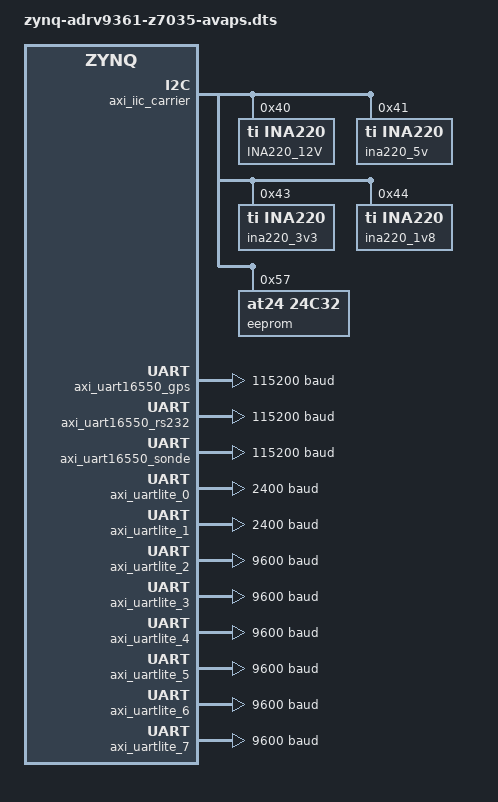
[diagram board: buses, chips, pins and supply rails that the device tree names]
// SPDX-License-Identifier: GPL-2.0
/*
 * AD9361-Z7035 System on Module (SOM) SDR - Breakout Carrier (CMOS)
 * Link: https://www.analog.com/ADRV9361-Z7035
 * Link: https://wiki.analog.com/resources/eval/user-guides/adrv936x_rfsom
 *
 * hdl_project: <adrv9361z7035/ccbob_cmos>
 * board_revision: <>
 *
 * Copyright 2016-2019 Analog Devices Inc.
 */
#include  "zynq-adrv9361-z7035-bob-cmos.dts"

/delete-node/ &tx_dma;
/delete-node/ &cf_ad9361_dac_core_0;

&aliases {
	serial1 = &axi_uart16550_gps;
	serial2 = &axi_uart16550_rs232;
	serial3 = &axi_uart16550_sonde;
};

&fpga_axi {
		AVAPSII_rcvr_0: AVAPSII_rcvr@43c00000 {
			/* This is a place holder node for a custom IP, user may need to update the entries */
			clock-names = "AXI4_Lite_ACLK", "IPCORE_CLK";
			clocks = <&misc_clk_0>, <&misc_clk_0>;
			compatible = "xlnx,AVAPSII-rcvr-1.2";
			reg = <0x43c00000 0x10000>;
		};
		misc_clk_0: misc_clk_0 {
			#clock-cells = <0>;
			clock-frequency = <100000000>;
			compatible = "fixed-clock";
		};
		AVAPSII_rcvr_1: AVAPSII_rcvr@43c10000 {
			/* This is a place holder node for a custom IP, user may need to update the entries */
			clock-names = "AXI4_Lite_ACLK", "IPCORE_CLK";
			clocks = <&misc_clk_0>, <&misc_clk_0>;
			compatible = "xlnx,AVAPSII-rcvr-1.2";
			reg = <0x43c10000 0x10000>;
		};
		AVAPSII_rcvr_2: AVAPSII_rcvr@43c20000 {
			/* This is a place holder node for a custom IP, user may need to update the entries */
			clock-names = "AXI4_Lite_ACLK", "IPCORE_CLK";
			clocks = <&misc_clk_0>, <&misc_clk_0>;
			compatible = "xlnx,AVAPSII-rcvr-1.2";
			reg = <0x43c20000 0x10000>;
		};
		AVAPSII_rcvr_3: AVAPSII_rcvr@43c30000 {
			/* This is a place holder node for a custom IP, user may need to update the entries */
			clock-names = "AXI4_Lite_ACLK", "IPCORE_CLK";
			clocks = <&misc_clk_0>, <&misc_clk_0>;
			compatible = "xlnx,AVAPSII-rcvr-1.2";
			reg = <0x43c30000 0x10000>;
		};
		AVAPSII_rcvr_4: AVAPSII_rcvr@43c40000 {
			/* This is a place holder node for a custom IP, user may need to update the entries */
			clock-names = "AXI4_Lite_ACLK", "IPCORE_CLK";
			clocks = <&misc_clk_0>, <&misc_clk_0>;
			compatible = "xlnx,AVAPSII-rcvr-1.2";
			reg = <0x43c40000 0x10000>;
		};
		AVAPSII_rcvr_5: AVAPSII_rcvr@43c50000 {
			/* This is a place holder node for a custom IP, user may need to update the entries */
			clock-names = "AXI4_Lite_ACLK", "IPCORE_CLK";
			clocks = <&misc_clk_0>, <&misc_clk_0>;
			compatible = "xlnx,AVAPSII-rcvr-1.2";
			reg = <0x43c50000 0x10000>;
		};
		AVAPSII_rcvr_6: AVAPSII_rcvr@43c60000 {
			/* This is a place holder node for a custom IP, user may need to update the entries */
			clock-names = "AXI4_Lite_ACLK", "IPCORE_CLK";
			clocks = <&misc_clk_0>, <&misc_clk_0>;
			compatible = "xlnx,AVAPSII-rcvr-1.2";
			reg = <0x43c60000 0x10000>;
		};
		AVAPSII_rcvr_7: AVAPSII_rcvr@43c70000 {
			/* This is a place holder node for a custom IP, user may need to update the entries */
			clock-names = "AXI4_Lite_ACLK", "IPCORE_CLK";
			clocks = <&misc_clk_0>, <&misc_clk_0>;
			compatible = "xlnx,AVAPSII-rcvr-1.2";
			reg = <0x43c70000 0x10000>;
		};
		axi_iic_carrier: i2c@41610000 {
			#address-cells = <1>;
			#size-cells = <0>;
			clock-names = "s_axi_aclk";
			clocks = <&clkc 15>;
			compatible = "xlnx,axi-iic-2.1", "xlnx,xps-iic-2.00.a";
			interrupt-names = "iic2intc_irpt";
			interrupt-parent = <&intc>;
			interrupts = <0 36 4>;
			reg = <0x41610000 0x10000>;
			ina220_12v@40 {
				compatible = "ti,ina220";
				reg = <0x40>;
				shunt-resistor = <10000>;
				label = "INA220_12V";
			};
			ina220_5v@41 {
				compatible = "ti,ina220";
				reg = <0x41>;
				shunt-resistor = <10000>;
			};
			ina220_3v3@43 {
				compatible = "ti,ina220";
				reg = <0x43>;
				shunt-resistor = <10000>;
			};
			ina220_1v8@44 {
				compatible = "ti,ina220";
				reg = <0x44>;
				shunt-resistor = <10000>;
			};
			eeprom@57 {
				compatible = "at24,24c32";
				reg = <0x57>;
				pagesize = <16>;
				size = <2048>;
				address-width = <8>;
			};

		};
		axi_gpio_launcher: gpio@41210000 {
			#gpio-cells = <2>;
			clock-names = "s_axi_aclk";
			clocks = <&clkc 15>;
			compatible = "xlnx,axi-gpio-2.0", "xlnx,xps-gpio-1.00.a";
			gpio-controller ;
			reg = <0x41210000 0x10000>;
			xlnx,all-inputs = <0x1>;
			xlnx,all-inputs-2 = <0x0>;
			xlnx,all-outputs = <0x0>;
			xlnx,all-outputs-2 = <0x1>;
			xlnx,dout-default = <0x00000000>;
			xlnx,dout-default-2 = <0x00000000>;
			xlnx,gpio-width = <0x2>;
			xlnx,gpio2-width = <0x1>;
			xlnx,interrupt-present = <0x0>;
			xlnx,is-dual = <0x1>;
			xlnx,tri-default = <0xFFFFFFFF>;
			xlnx,tri-default-2 = <0xFFFFFFFF>;
		};
		axi_uart16550_gps: serial@43d00000 {
			clock-frequency = <100000000>;
			clock-names = "s_axi_aclk";
			clocks = <&clkc 15>;
			compatible = "xlnx,xps-uart16550-2.00.a", "ns16550a";
			current-speed = <115200>;
			device_type = "serial";
			interrupt-names = "ip2intc_irpt";
			interrupt-parent = <&intc>;
			interrupts = <0 52 4>;
			port-number = <1>;
			reg = <0x43d00000 0x10000>;
			reg-offset = <0x1000>;
			reg-shift = <2>;
			xlnx,external-xin-clk-hz = <0x17d7840>;
			xlnx,external-xin-clk-hz-d = <0x19>;
			xlnx,has-external-rclk = <0x0>;
			xlnx,has-external-xin = <0x0>;
			xlnx,is-a-16550 = <0x1>;
			xlnx,s-axi-aclk-freq-hz-d = "100.0";
			xlnx,sim-device = "VERSAL_AI_CORE_ES1";
			xlnx,use-modem-ports = <0x1>;
			xlnx,use-user-ports = <0x1>;
		};
		axi_uart16550_rs232: serial@43d10000 {
			clock-frequency = <100000000>;
			clock-names = "s_axi_aclk";
			clocks = <&clkc 15>;
			compatible = "xlnx,xps-uart16550-2.00.a", "ns16550a";
			current-speed = <115200>;
			device_type = "serial";
			interrupt-names = "ip2intc_irpt";
			interrupt-parent = <&intc>;
			interrupts = <0 56 4>;
			port-number = <2>;
			reg = <0x43d10000 0x10000>;
			reg-offset = <0x1000>;
			reg-shift = <2>;
			xlnx,external-xin-clk-hz = <0x17d7840>;
			xlnx,external-xin-clk-hz-d = <0x19>;
			xlnx,has-external-rclk = <0x0>;
			xlnx,has-external-xin = <0x0>;
			xlnx,is-a-16550 = <0x1>;
			xlnx,s-axi-aclk-freq-hz-d = "100.0";
			xlnx,sim-device = "VERSAL_AI_CORE_ES1";
			xlnx,use-modem-ports = <0x1>;
			xlnx,use-user-ports = <0x1>;
		};
		axi_uart16550_sonde: serial@43d20000 {
			clock-frequency = <100000000>;
			clock-names = "s_axi_aclk";
			clocks = <&clkc 15>;
			compatible = "xlnx,xps-uart16550-2.00.a", "ns16550a";
			current-speed = <115200>;
			device_type = "serial";
			interrupt-names = "ip2intc_irpt";
			interrupt-parent = <&intc>;
			interrupts = <0 54 4>;
			port-number = <3>;
			reg = <0x43d20000 0x10000>;
			reg-offset = <0x1000>;
			reg-shift = <2>;
			xlnx,external-xin-clk-hz = <0x17d7840>;
			xlnx,external-xin-clk-hz-d = <0x19>;
			xlnx,has-external-rclk = <0x0>;
			xlnx,has-external-xin = <0x0>;
			xlnx,is-a-16550 = <0x1>;
			xlnx,s-axi-aclk-freq-hz-d = "100.0";
			xlnx,sim-device = "VERSAL_AI_CORE_ES1";
			xlnx,use-modem-ports = <0x1>;
			xlnx,use-user-ports = <0x1>;
		};
		axi_uartlite_0: serial@42c00000 {
			clock-names = "s_axi_aclk";
			clocks = <&clkc 15>;
			compatible = "xlnx,axi-uartlite-2.0", "xlnx,xps-uartlite-1.00.a";
			current-speed = <2400>;
			device_type = "serial";
			interrupt-names = "interrupt";
			interrupt-parent = <&intc>;
			interrupts = <0 53 1>;
			port-number = <0>;
			reg = <0x42c00000 0x10000>;
			xlnx,baudrate = <0x960>;
			xlnx,data-bits = <0x8>;
			xlnx,odd-parity = <0x0>;
			xlnx,s-axi-aclk-freq-hz-d = "100.0";
			xlnx,use-parity = <0x0>;
		};
		axi_uartlite_1: serial@42c10000 {
			clock-names = "s_axi_aclk";
			clocks = <&clkc 15>;
			compatible = "xlnx,axi-uartlite-2.0", "xlnx,xps-uartlite-1.00.a";
			current-speed = <2400>;
			device_type = "serial";
			interrupt-names = "interrupt";
			interrupt-parent = <&intc>;
			interrupts = <0 34 1>;
			port-number = <1>;
			reg = <0x42c10000 0x10000>;
			xlnx,baudrate = <0x960>;
			xlnx,data-bits = <0x8>;
			xlnx,odd-parity = <0x0>;
			xlnx,s-axi-aclk-freq-hz-d = "100.0";
			xlnx,use-parity = <0x0>;
		};
		axi_uartlite_2: serial@42c20000 {
			clock-names = "s_axi_aclk";
			clocks = <&clkc 15>;
			compatible = "xlnx,axi-uartlite-2.0", "xlnx,xps-uartlite-1.00.a";
			current-speed = <9600>;
			device_type = "serial";
			interrupt-names = "interrupt";
			interrupt-parent = <&intc>;
			interrupts = <0 35 1>;
			port-number = <2>;
			reg = <0x42c20000 0x10000>;
			xlnx,baudrate = <0x2580>;
			xlnx,data-bits = <0x8>;
			xlnx,odd-parity = <0x0>;
			xlnx,s-axi-aclk-freq-hz-d = "100.0";
			xlnx,use-parity = <0x0>;
		};
		axi_uartlite_3: serial@42c30000 {
			clock-names = "s_axi_aclk";
			clocks = <&clkc 15>;
			compatible = "xlnx,axi-uartlite-2.0", "xlnx,xps-uartlite-1.00.a";
			current-speed = <9600>;
			device_type = "serial";
			interrupt-names = "interrupt";
			interrupt-parent = <&intc>;
			interrupts = <0 33 1>;
			port-number = <3>;
			reg = <0x42c30000 0x10000>;
			xlnx,baudrate = <0x2580>;
			xlnx,data-bits = <0x8>;
			xlnx,odd-parity = <0x0>;
			xlnx,s-axi-aclk-freq-hz-d = "100.0";
			xlnx,use-parity = <0x0>;
		};
		axi_uartlite_4: serial@42c40000 {
			clock-names = "s_axi_aclk";
			clocks = <&clkc 15>;
			compatible = "xlnx,axi-uartlite-2.0", "xlnx,xps-uartlite-1.00.a";
			current-speed = <9600>;
			device_type = "serial";
			interrupt-names = "interrupt";
			interrupt-parent = <&intc>;
			interrupts = <0 32 1>;
			port-number = <4>;
			reg = <0x42c40000 0x10000>;
			xlnx,baudrate = <0x2580>;
			xlnx,data-bits = <0x8>;
			xlnx,odd-parity = <0x0>;
			xlnx,s-axi-aclk-freq-hz-d = "100.0";
			xlnx,use-parity = <0x0>;
		};
		axi_uartlite_5: serial@42c50000 {
			clock-names = "s_axi_aclk";
			clocks = <&clkc 15>;
			compatible = "xlnx,axi-uartlite-2.0", "xlnx,xps-uartlite-1.00.a";
			current-speed = <9600>;
			device_type = "serial";
			interrupt-names = "interrupt";
			interrupt-parent = <&intc>;
			interrupts = <0 31 1>;
			port-number = <5>;
			reg = <0x42c50000 0x10000>;
			xlnx,baudrate = <0x2580>;
			xlnx,data-bits = <0x8>;
			xlnx,odd-parity = <0x0>;
			xlnx,s-axi-aclk-freq-hz-d = "100.0";
			xlnx,use-parity = <0x0>;
		};
		axi_uartlite_6: serial@42c60000 {
			clock-names = "s_axi_aclk";
			clocks = <&clkc 15>;
			compatible = "xlnx,axi-uartlite-2.0", "xlnx,xps-uartlite-1.00.a";
			current-speed = <9600>;
			device_type = "serial";
			interrupt-names = "interrupt";
			interrupt-parent = <&intc>;
			interrupts = <0 30 1>;
			port-number = <6>;
			reg = <0x42c60000 0x10000>;
			xlnx,baudrate = <0x2580>;
			xlnx,data-bits = <0x8>;
			xlnx,odd-parity = <0x0>;
			xlnx,s-axi-aclk-freq-hz-d = "100.0";
			xlnx,use-parity = <0x0>;
		};
		axi_uartlite_7: serial@42c70000 {
			clock-names = "s_axi_aclk";
			clocks = <&clkc 15>;
			compatible = "xlnx,axi-uartlite-2.0", "xlnx,xps-uartlite-1.00.a";
			current-speed = <9600>;
			device_type = "serial";
			interrupt-names = "interrupt";
			interrupt-parent = <&intc>;
			interrupts = <0 29 1>;
			port-number = <7>;
			reg = <0x42c70000 0x10000>;
			xlnx,baudrate = <0x2580>;
			xlnx,data-bits = <0x8>;
			xlnx,odd-parity = <0x0>;
			xlnx,s-axi-aclk-freq-hz-d = "100.0";
			xlnx,use-parity = <0x0>;
		};
	};
